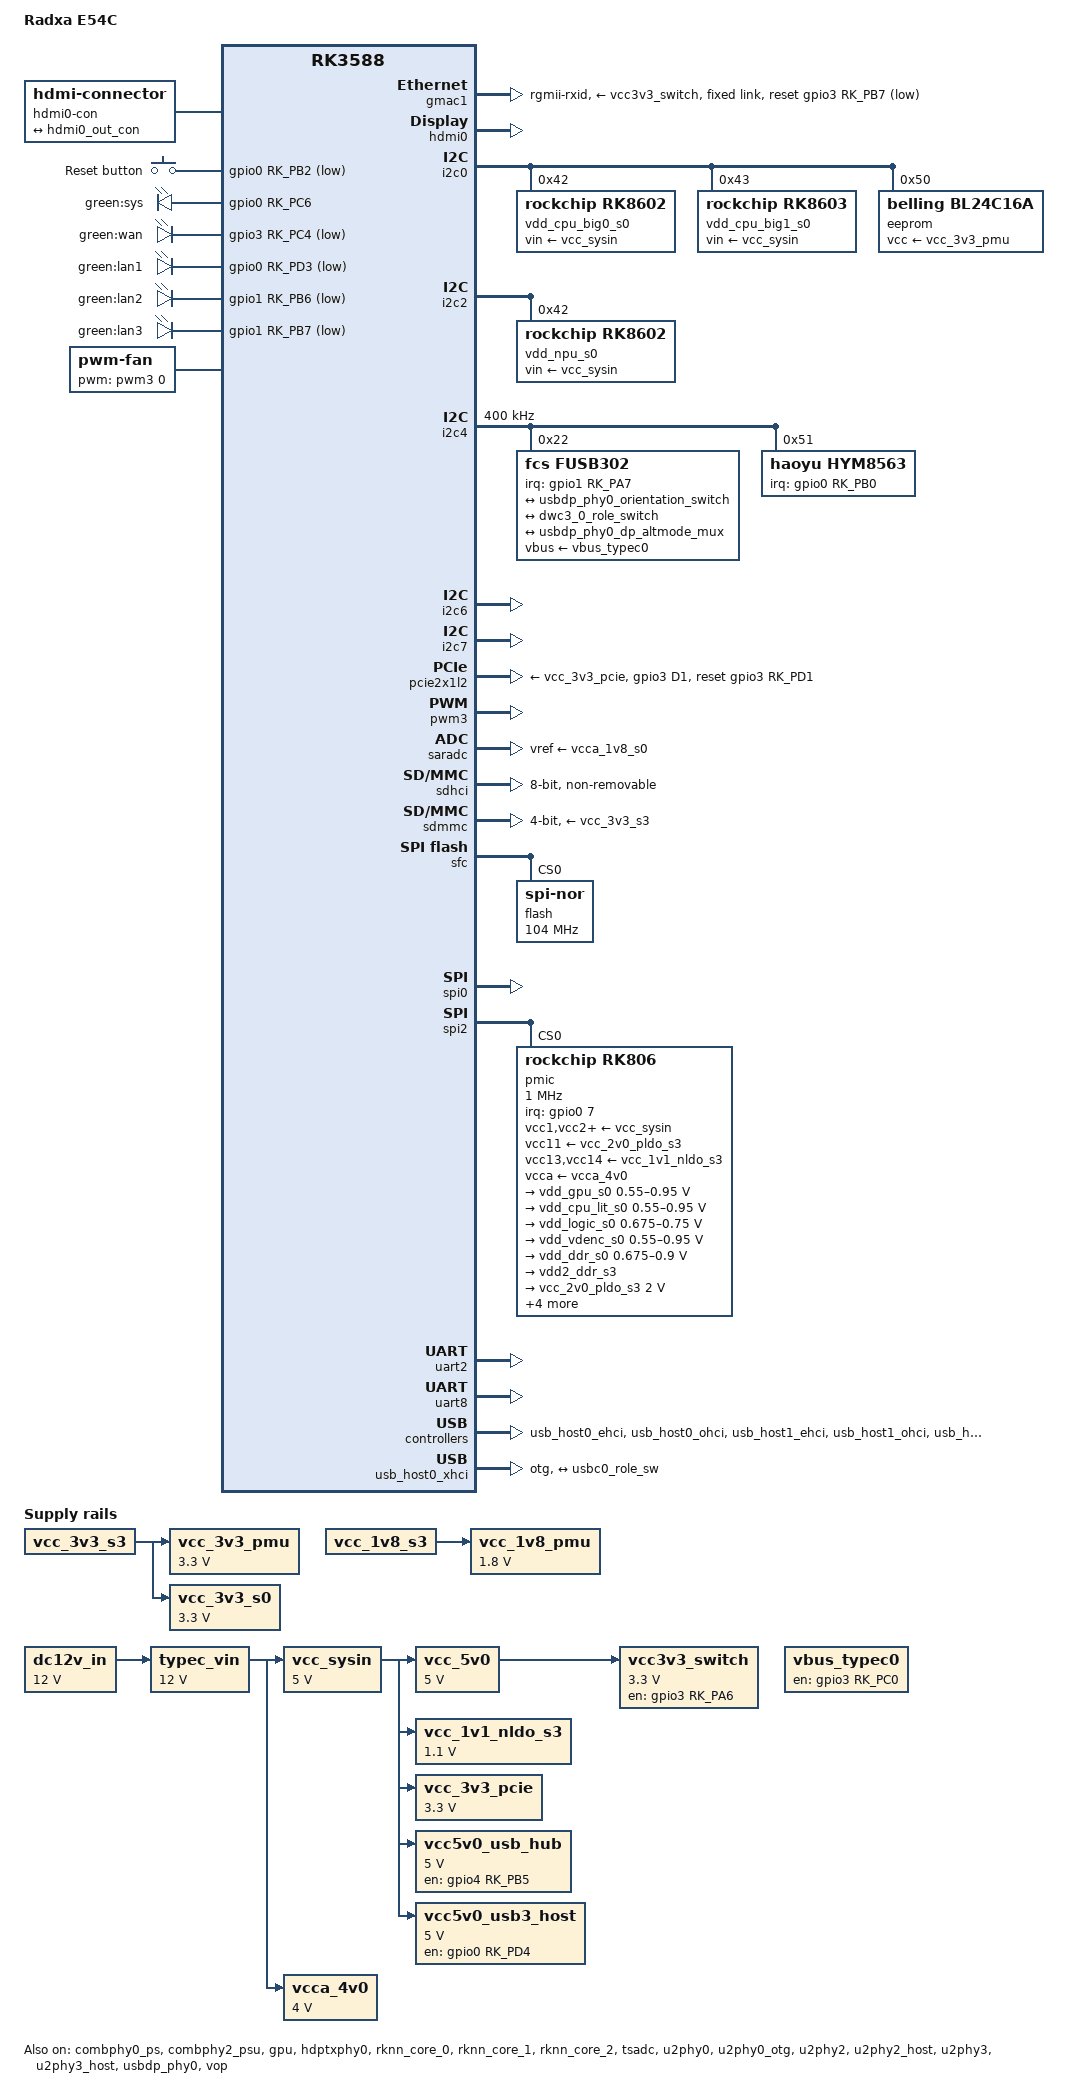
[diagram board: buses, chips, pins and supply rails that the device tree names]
// SPDX-License-Identifier: (GPL-2.0+ OR MIT)
/*
 * Copyright (c) 2024 Radxa Computer (Shenzhen) Co., Ltd.
 * Copyright (c) 2025 flippy (flippy@sina.com)
 */

/dts-v1/;

#include <dt-bindings/gpio/gpio.h>
#include <dt-bindings/input/input.h>
#include <dt-bindings/leds/common.h>
#include <dt-bindings/pinctrl/rockchip.h>
#include <dt-bindings/soc/rockchip,vop2.h>
#include <dt-bindings/usb/pd.h>
#include "rk3588s.dtsi"

/ {
	/* Ver 1.2 20250328 */
	model = "Radxa E54C";
	compatible = "radxa,e54c", "rockchip,rk3582", "rockchip,rk3588s", "rockchip,rk3588";

	aliases {
		mmc0 = &sdmmc;
		mmc1 = &sdhci;
	};

	chosen {
		stdout-path = "serial2:1500000n8";
	};

	hdmi0-con {
		compatible = "hdmi-connector";
		type = "a";

		port {
			hdmi0_con_in: endpoint {
				remote-endpoint = <&hdmi0_out_con>;
			};
		};
	};

	gpio-keys {
		compatible = "gpio-keys";
		pinctrl-names = "default";
		pinctrl-0 = <&user_key>;
		autorepeat;

		user-key {
			label = "Reset button";
			linux,code = <KEY_RESTART>;
			gpios = <&gpio0 RK_PB2 GPIO_ACTIVE_LOW>;
			debounce-interval = <60>;
		};
	};

	gpio-leds {
		compatible = "gpio-leds";

		sys_led:  sys-led {
			gpios = <&gpio0 RK_PC6 GPIO_ACTIVE_HIGH>;
			label = "green:sys";
			linux,default-trigger = "heartbeat";
		};

		wan_led: wan-led {
			gpios = <&gpio3 RK_PC4 GPIO_ACTIVE_LOW>;
			label = "green:wan";
			linux,default-trigger = "netdev";
		};

		lan1_led: lan1-led {
			gpios = <&gpio0 RK_PD3 GPIO_ACTIVE_LOW>;
			label = "green:lan1";
			linux,default-trigger = "netdev";
		};

		lan2_led: lan2-led {
			gpios = <&gpio1 RK_PB6 GPIO_ACTIVE_LOW>;
			label = "green:lan2";
			linux,default-trigger = "netdev";
		};

		lan3_led: lan3-led {
			gpios = <&gpio1 RK_PB7 GPIO_ACTIVE_LOW>;
			label = "green:lan3";
			linux,default-trigger = "netdev";
		};
	};

	/* The main power */
	dc12v_in: regulator-dc12v-in {
		compatible = "regulator-fixed";
		regulator-name = "dc12v-in";
		regulator-always-on;
		regulator-boot-on;
		regulator-min-microvolt = <12000000>;
		regulator-max-microvolt = <12000000>;
	};

	/* The alternative power
	 * output mode: FPF2595UCX advanced load−management switch, Max 28v 3.9A, vcc_sysin -> vbus_typec0 5v
	 *   enabled by GPIO3_C0
	 * input mode: FUSB302B Programmable USB Type‐C Controller, vbus_typec0 -> vcc_sysin, 5v - 20v
	 */
	vbus_typec0: regulator-vbus-typec0 {
		compatible = "regulator-fixed";
		enable-active-high;
		gpio = <&gpio3 RK_PC0 GPIO_ACTIVE_HIGH>;
		pinctrl-names = "default";
		pinctrl-0 = <&vbus_typec0_en>;
		regulator-name = "vbus-typec0";
	};

	/*
	 * Supply by dc12v_in through a diode (SS54),
	 * or by vbus_typec0 through a power electronics switch (WS4684C)
	 * if dc12v_in and vbus_typec0 are powered at the same time, select dc12v_in
	 */
	typec_vin: regulator-typec-vin {
		compatible = "regulator-fixed";
		regulator-name = "typec-in";
		regulator-always-on;
		regulator-boot-on;
		regulator-min-microvolt = <12000000>;
		regulator-max-microvolt = <12000000>;
		vin-supply = <&dc12v_in>;
	};

	/*
	 * DC-DC:   MP8759 Max 26V 8A
	 * input:   typec_vin
	 * output1: vcc_sysin: direct
	 * output2: vcc5v0_dip: through a 4A fuse, is used for DIP_14PIN-2_54MM output
	 */
	 vcc_sysin: vcc5v0_dip: regulator-vcc5v0-sysin {
		compatible = "regulator-fixed";
		regulator-name = "vcc5v0_sysin";
		regulator-min-microvolt = <5000000>;
		regulator-max-microvolt = <5000000>;
		regulator-always-on;
		regulator-boot-on;
		vin-supply = <&typec_vin>;
	};

	/*
	 * LDO: SGM2200-ADJ Max 26.4v input, 1.5v - 5v 50ma output
	 * Used for RK806-1 VCCA supply and hym8563 supply
	 */
	vcca_4v0: regulator-vcca-4v0 {
		compatible = "regulator-fixed";
		regulator-name = "vcca_4v0";
		regulator-min-microvolt = <4000000>;
		regulator-max-microvolt = <4000000>;
		regulator-boot-on;
		regulator-always-on;
		vin-supply = <&typec_vin>;
	};

	/*
	 * PMOS switch: AO3401, Max 4A output
	 * input:  vcc_sysin
	 * output: vcc_5v0
	 * enabled by vcc_3v3_s3
	 */
	vcc_5v0: regulator-vcc-5v0 {
		compatible = "regulator-fixed";
		regulator-name = "vcc_5v0";
		regulator-min-microvolt = <5000000>;
		regulator-max-microvolt = <5000000>;
		regulator-boot-on;
		regulator-always-on;
		vin-supply = <&vcc_sysin>;
	};

	/*
	 * DC-DC: ETA3409/SY8089AAC, Max 2A output
	 * input: vcc_sysin
	 * output: vcc_1v1_nldo_s3
	 * enabled by pmic RK806-1 ext_en pin
	 */
	vcc_1v1_nldo_s3: regulator-vcc-1v1-nldo-s3 {
		compatible = "regulator-fixed";
		regulator-name = "vcc_1v1_nldo_s3";
		regulator-always-on;
		regulator-boot-on;
		regulator-min-microvolt = <1100000>;
		regulator-max-microvolt = <1100000>;
		vin-supply = <&vcc_sysin>;
	};

	/*
	 * DC-DC: SY8089AAC, max 2A output
	 * input: vcc_sysin
	 * output: vcc_3v3_pcie
	 * enabled by vcc_2v0_pldo_s3
	 */
	vcc_3v3_pcie: regulator-vcc-pcie {
		compatible = "regulator-fixed";
		regulator-name = "vcc_3v3_pcie";
		regulator-always-on;
		regulator-boot-on;
		regulator-min-microvolt = <3300000>;
		regulator-max-microvolt = <3300000>;
		vin-supply = <&vcc_sysin>;
	};

	/*
	 * Through a 0 ohm resistor
	 * input: vcc_3v3_s3
	 * output: vcc_3v3_pmu
	 */
	vcc_3v3_pmu: regulator-vcc-3v3-pmu {
		compatible = "regulator-fixed";
		regulator-name = "vcc_3v3_pmu";
		regulator-always-on;
		regulator-boot-on;
		regulator-min-microvolt = <3300000>;
		regulator-max-microvolt = <3300000>;
		vin-supply = <&vcc_3v3_s3>;
	};

	/*
	 * Power switch: SGM2576, max 2.5A output
	 * input: vcc_3v3_s3
	 * output: vcc_3v3_s0
	 * enabled by vcc_1v8_s0
	 */
	vcc_3v3_s0: regulator-vcc-3v3-s0 {
		compatible = "regulator-fixed";
		regulator-name = "vcc_3v3_s0";
		regulator-always-on;
		regulator-boot-on;
		regulator-min-microvolt = <3300000>;
		regulator-max-microvolt = <3300000>;
		vin-supply = <&vcc_3v3_s3>;
	};

	/*
	 * Through a 0 ohm resistor
	 * input: vcc_1v8_s3
	 * output: vcc_1v8_pmu
	 */
	vcc_1v8_pmu: regulator-vcc-1v8-pmu {
		compatible = "regulator-fixed";
		regulator-name = "vcc_1v8_pmu";
		regulator-always-on;
		regulator-boot-on;
		regulator-min-microvolt = <1800000>;
		regulator-max-microvolt = <1800000>;
		vin-supply = <&vcc_1v8_s3>;
	};

	/*
	 * Power switch: SY6280AAC, max 2A output
	 * input: vcc_sysin
	 * output to two usb2.0 type A port
	 * enabled by GPIO4_B5
	 */
	vcc5v0_usb_hub: regulator-vcc5v0-usb-hub {
		compatible = "regulator-fixed";
		regulator-name = "vcc5v0_usb_hub";
		regulator-min-microvolt = <5000000>;
		regulator-max-microvolt = <5000000>;
		enable-active-high;
		gpio = <&gpio4 RK_PB5 GPIO_ACTIVE_HIGH>;
		pinctrl-names = "default";
		pinctrl-0 = <&vcc5v0_usb_hub_en>;
		vin-supply = <&vcc_sysin>;
	};

	/*
	 * Power switch: SY6280AAC, max 2A output
	 * input: vcc_sysin
	 * output to USB3 type A port
	 * enabled by GPIO0_D4
	 */
	vcc5v0_usb3_host: regulator-vcc5v0-usb3-host {
		compatible = "regulator-fixed";
		regulator-name = "vcc5v0_usb3_host";
		regulator-min-microvolt = <5000000>;
		regulator-max-microvolt = <5000000>;
		enable-active-high;
		gpio = <&gpio0 RK_PD4 GPIO_ACTIVE_HIGH>;
		pinctrl-names = "default";
		pinctrl-0 = <&vcc5v0_usb3_host_en>;
		vin-supply = <&vcc_sysin>;
	};

	/*
	 * DC-DC: SY8088AAC(3v3) + SY8088AAC(1v1), max 1A
	 * input: vcc_5v0
	 * output: 3v3 to RTL8367RB AVDDH, 1v1 to RTL8367RB AVDDL
	 * enabled by GPIO3_A6
	 */
	vcc3v3_switch: regulator-vcc3v3-switch {
		compatible = "regulator-fixed";
		regulator-name = "vcc3v3_switch";
		regulator-min-microvolt = <3300000>;
		regulator-max-microvolt = <3300000>;
		enable-active-high;
		gpio = <&gpio3 RK_PA6 GPIO_ACTIVE_HIGH>;
		pinctrl-names = "default";
		pinctrl-0 = <&rtl8367rb_power_en>;
		vin-supply = <&vcc_5v0>;
	};

	fan: pwm-fan {
		compatible = "pwm-fan";
		#cooling-cells = <2>;
		cooling-levels = <0 64 128 192 255>;
		pwms = <&pwm3 0 10000 0>;
	};

	/* RTL8367RB-VB (num:6367 ver:0020) */
	switch0: switch0 {
		compatible = "realtek,rtl8367b";
		realtek,extif = <6 1 0 1 1 1 1 1 1 2>;
		mii-bus = <&mdio1>;
		phy-id = <29>;
	};
};

/* pcie2x1l2 phy */
&combphy0_ps {
	status = "okay";
};

/* usb_host2_xhci: usb@fcd00000 phy */
&combphy2_psu {
	status = "okay";
};

/*
 * In the Rockchip RK3582 SoC, some CPU cores end up disabled
 * and unused because they're marked in the efuses as defective.
 * The disabling in the DT is performed by the boot loader.
 */
&cpu_b0 {
	cpu-supply = <&vdd_cpu_big0_s0>;
};

&cpu_b1 {
	cpu-supply = <&vdd_cpu_big0_s0>;
};

&cpu_b2 {
	cpu-supply = <&vdd_cpu_big1_s0>;
};

&cpu_b3 {
	cpu-supply = <&vdd_cpu_big1_s0>;
};

&cpu_l0 {
	cpu-supply = <&vdd_cpu_lit_s0>;
};

&cpu_l1 {
	cpu-supply = <&vdd_cpu_lit_s0>;
};

&cpu_l2 {
	cpu-supply = <&vdd_cpu_lit_s0>;
};

&cpu_l3 {
	cpu-supply = <&vdd_cpu_lit_s0>;
};

/*
 * The stmmac driver used by rk3588 has a bug in VLAN.
 * Instead of hacking it, use the legacy switch driver
 * first. Obviously this is not a DSA driver bug.
 */
&gmac1 {
	status = "okay";
	label = "eth0";
	phy-mode = "rgmii-rxid";
	phy-supply = <&vcc3v3_switch>;
	clock_in_out = "output";

	pinctrl-names = "default";
	pinctrl-0 = <&gmac1_miim
		     &gmac1_tx_bus2
		     &gmac1_rx_bus2
		     &gmac1_rgmii_clk
		     &gmac1_rgmii_bus>;

	snps,reset-active-low;
	snps,reset-delays-us = <0 10000 10000>;
	snps,reset-gpio = <&gpio3 RK_PB7 GPIO_ACTIVE_LOW>;

	tx_delay = <0x3f>;
	rx_delay = <0x10>;

	fixed-link {
		speed = <1000>;
		full-duplex;
		pause;
	};
};

&gpu {
	mali-supply = <&vdd_gpu_s0>;
	status = "okay";
};

&hdmi0 {
	pinctrl-names = "default";
	pinctrl-0 = <&hdmim0_tx0_cec
		     &hdmim1_tx0_hpd
		     &hdmim0_tx0_scl
		     &hdmim0_tx0_sda>;
	status = "okay";
};

&hdmi0_in {
	hdmi0_in_vp0: endpoint {
		remote-endpoint = <&vp0_out_hdmi0>;
	};
};

&hdmi0_out {
	hdmi0_out_con: endpoint {
		remote-endpoint = <&hdmi0_con_in>;
	};
};

&hdptxphy0 {
	status = "okay";
};

&i2c0 {
	pinctrl-names = "default";
	pinctrl-0 = <&i2c0m2_xfer>;
	status = "okay";

	vdd_cpu_big0_s0: regulator@42 {
		compatible = "rockchip,rk8602";
		reg = <0x42>;
		fcs,suspend-voltage-selector = <1>;
		regulator-name = "vdd_cpu_big0_s0";
		regulator-always-on;
		regulator-boot-on;
		regulator-min-microvolt = <550000>;
		regulator-max-microvolt = <1050000>;
		regulator-ramp-delay = <2300>;
		vin-supply = <&vcc_sysin>;

		regulator-state-mem {
			regulator-off-in-suspend;
		};
	};

	vdd_cpu_big1_s0: regulator@43 {
		compatible = "rockchip,rk8603", "rockchip,rk8602";
		reg = <0x43>;
		fcs,suspend-voltage-selector = <1>;
		regulator-name = "vdd_cpu_big1_s0";
		regulator-always-on;
		regulator-boot-on;
		regulator-min-microvolt = <550000>;
		regulator-max-microvolt = <1050000>;
		regulator-ramp-delay = <2300>;
		vin-supply = <&vcc_sysin>;

		regulator-state-mem {
			regulator-off-in-suspend;
		};
	};

	eeprom@50 {
		compatible = "belling,bl24c16a", "atmel,24c16";
		reg = <0x50>;
		pagesize = <16>;
		vcc-supply = <&vcc_3v3_pmu>;
	};
};

&i2c2 {
	status = "okay";

	vdd_npu_s0: vdd_npu_mem_s0: regulator@42 {
		compatible = "rockchip,rk8602";
		reg = <0x42>;
		fcs,suspend-voltage-selector = <1>;
		regulator-name = "vdd_npu_s0";
		regulator-always-on;
		regulator-boot-on;
		regulator-min-microvolt = <550000>;
		regulator-max-microvolt = <950000>;
		regulator-ramp-delay = <2300>;
		vin-supply = <&vcc_sysin>;

		regulator-state-mem {
			regulator-off-in-suspend;
		};
	};
};

&i2c4 {
	clock-frequency = <400000>;
	pinctrl-names = "default";
	pinctrl-0 = <&i2c4m2_xfer>;
	status = "okay";

	fusb302: usb-typec@22 {
		status = "okay";
		compatible = "fcs,fusb302";
		reg = <0x22>;
		interrupt-parent = <&gpio1>;
		interrupts = <RK_PA7 IRQ_TYPE_EDGE_FALLING>;
		pinctrl-names = "default";
		pinctrl-0 = <&fusb302_int_l>;
		vbus-supply = <&vbus_typec0>;

		typec0_connect: connector {
			compatible = "usb-c-connector";
			label = "USB-C";
			power-role = "dual";
			try-power-role = "sink";
			source-pdos = <PDO_FIXED(5000, 3000, PDO_FIXED_USB_COMM)>;
			sink-pdos = <PDO_FIXED(5000, 5000, PDO_FIXED_USB_COMM)
				     PDO_VAR(5000, 20000, 5000)
				     PDO_PPS_APDO(5000, 20000, 5000)>;
			op-sink-microwatt = <100000000>;

			ports {
				#address-cells = <1>;
				#size-cells = <0>;

				port@0 {
					reg = <0>;

					usbc0_orien_sw: endpoint {
						remote-endpoint = <&usbdp_phy0_orientation_switch>;
					};
				};

				port@1 {
					reg = <1>;

					usbc0_role_sw: endpoint {
						remote-endpoint = <&dwc3_0_role_switch>;
					};
				};

				port@2 {
					reg = <2>;

					dp_altmode_mux: endpoint {
						remote-endpoint = <&usbdp_phy0_dp_altmode_mux>;
					};
				};
			};
		};
	};

	hym8563: rtc@51 {
		compatible = "haoyu,hym8563";
		reg = <0x51>;
		#clock-cells = <0>;
		clock-output-names = "rtcic_32kout";
		interrupt-parent = <&gpio0>;
		interrupts = <RK_PB0 IRQ_TYPE_LEVEL_LOW>;
		pinctrl-names = "default";
		pinctrl-0 = <&hym8563_int_l>;
	};
};

/*
 * To LCD TFT
 */
&i2c5 {
	pinctrl-names = "default";
	pinctrl-0 = <&i2c5m2_xfer>;
	status = "disabled";
};

/*
 * DIP14 output
 * pin11: I2C6_SCL_M0
 * pin13: I2C6_SDA_M0
 */
&i2c6 {
	pinctrl-names = "default";
	pinctrl-0 = <&i2c6m0_xfer>;
	status = "okay";
};

/*
 * DIP14 output
 * pin3: I2C7_SDA_M3
 * pin5: I2C7_SCL_M3
 */
&i2c7 {
	pinctrl-names = "default";
	pinctrl-0 = <&i2c7m3_xfer>;
	status = "okay";
};

&package_thermal {
	polling-delay = <1000>;

	trips {
		package_fan0: package-fan0 {
			hysteresis = <2000>;
			temperature = <50000>;
			type = "active";
		};

		package_fan1: package-fan1 {
			hysteresis = <2000>;
			temperature = <65000>;
			type = "active";
		};
	};

	cooling-maps {
		map0 {
			cooling-device = <&fan THERMAL_NO_LIMIT 1>;
			trip = <&package_fan0>;
		};
		map1 {
			cooling-device = <&fan 2 THERMAL_NO_LIMIT>;
			trip = <&package_fan1>;
		};
	};
};

/* M.2 M-KEY PCIe */
&pcie2x1l2 {
	pinctrl-names = "default";
	pinctrl-0 = <&pcie20x1_2_perstn_m0>;
	reset-gpios = <&gpio3 RK_PD1 GPIO_ACTIVE_HIGH>;
	vpcie3v3-supply = <&vcc_3v3_pcie>;
	status = "okay";
};

&package_thermal {
	polling-delay = <1000>;

	trips {
		package_fan0: package-fan0 {
			temperature = <55000>;
			hysteresis = <2000>;
			type = "active";
		};

		package_fan1: package-fan1 {
			temperature = <65000>;
			hysteresis = <2000>;
			type = "active";
		};
	};

	cooling-maps {
		map0 {
			trip = <&package_fan0>;
			cooling-device = <&fan THERMAL_NO_LIMIT 1>;
		};

		map1 {
			trip = <&package_fan1>;
			cooling-device = <&fan 2 THERMAL_NO_LIMIT>;
		};
	};
};

&pd_gpu {
	domain-supply = <&vdd_gpu_s0>;
};

&pd_npu {
	domain-supply = <&vdd_npu_s0>;
};

&pinctrl {
	keys {
		user_key: user-key {
			rockchip,pins = <0 RK_PB2 RK_FUNC_GPIO &pcfg_pull_up>;
		};
	};

	pcie {
		pcie20x1_2_perstn_m0: pcie20x1-2-perstn-m0 {
			rockchip,pins = <3 RK_PD1 RK_FUNC_GPIO &pcfg_pull_none>;
		};

		pow_en: pow-en {
			rockchip,pins = <0 RK_PC5 RK_FUNC_GPIO &pcfg_pull_none>;
		};
	};

	rtc {
		hym8563_int_l: hym8563-int-l {
			rockchip,pins = <0 RK_PB0 RK_FUNC_GPIO &pcfg_pull_none>;
		};
	};

	rtl8367rb {
		rtl8367rb_power_en: rtl8367rb-power-en {
			rockchip,pins = <3 RK_PA6 RK_FUNC_GPIO &pcfg_pull_none>;
		};
	};

	usb {
		fusb302_int_l: fusb302-int-l {
			rockchip,pins = <1 RK_PA7 RK_FUNC_GPIO &pcfg_pull_none>;
		};

		vbus_typec0_en: vbus-typec0-en {
			rockchip,pins = <3 RK_PC0 RK_FUNC_GPIO &pcfg_pull_none>;
		};

		vcc5v0_usb_hub_en: vcc5v0-usb-hub-en {
			rockchip,pins = <4 RK_PB5 RK_FUNC_GPIO &pcfg_pull_none>;
		};

		vcc5v0_usb3_host_en: vcc5v0-usb3-host-en {
			rockchip,pins = <0 RK_PD4 RK_FUNC_GPIO &pcfg_pull_none>;
		};
	};
};

/* pwm fan */
&pwm3 {
	pinctrl-names = "default";
	pinctrl-0 = <&pwm3m1_pins>;
	status = "okay";
};

&rknn_core_0 {
	npu-supply = <&vdd_npu_s0>;
	sram-supply = <&vdd_npu_mem_s0>;
	status = "okay";
};

&rknn_core_1 {
	npu-supply = <&vdd_npu_s0>;
	sram-supply = <&vdd_npu_mem_s0>;
	status = "okay";
};

&rknn_core_2 {
	npu-supply = <&vdd_npu_s0>;
	sram-supply = <&vdd_npu_mem_s0>;
	status = "okay";
};

&rknn_mmu_0 {
	status = "okay";
};

&rknn_mmu_1 {
	status = "okay";
};

&rknn_mmu_2 {
	status = "okay";
};

&saradc {
	vref-supply = <&vcca_1v8_s0>;
	status = "okay";
};

&sdhci {
	bus-width = <8>;
	mmc-hs400-1_8v;
	mmc-hs400-enhanced-strobe;
	no-sdio;
	no-sd;
	non-removable;
	status = "okay";
};

&sdmmc {
	bus-width = <4>;
	cap-mmc-highspeed;
	cap-sd-highspeed;
	disable-wp;
	no-sdio;
	no-mmc;
	sd-uhs-sdr104;
	vmmc-supply = <&vcc_3v3_s3>;
	vqmmc-supply = <&vccio_sd_s0>;
	status = "okay";
};

&sfc {
	pinctrl-names = "default";
	pinctrl-0 = <&fspim0_pins>;

	flash@0 {
		compatible = "jedec,spi-nor";
		reg = <0>;
		spi-max-frequency = <104000000>;
		spi-rx-bus-width = <4>;
		spi-tx-bus-width = <1>;
	};
};

/*
 * DIP14 output
 * pin8:  SPI0_MOSI_M2
 * pin10: SPI0_MISO_M2
 * pin12: SPI0_CLK_M2
 * pin14: SPI0_CS0_M2
 */
&spi0 {
	pinctrl-0 = <&spi0m2_cs0 &spi0m2_pins>;
	status = "okay";
};

&spi2 {
	status = "okay";
	assigned-clocks = <&cru CLK_SPI2>;
	assigned-clock-rates = <200000000>;
	num-cs = <1>;
	pinctrl-names = "default";
	pinctrl-0 = <&spi2m2_cs0 &spi2m2_pins>;

	pmic@0 {
		compatible = "rockchip,rk806";
		reg = <0>;
		gpio-controller;
		#gpio-cells = <2>;
		interrupt-parent = <&gpio0>;
		interrupts = <7 IRQ_TYPE_LEVEL_LOW>;
		pinctrl-names = "default";
		pinctrl-0 = <&pmic_pins>, <&rk806_dvs1_null>,
			    <&rk806_dvs2_null>, <&rk806_dvs3_null>;
		spi-max-frequency = <1000000>;
		system-power-controller;

		vcc1-supply = <&vcc_sysin>;
		vcc2-supply = <&vcc_sysin>;
		vcc3-supply = <&vcc_sysin>;
		vcc4-supply = <&vcc_sysin>;
		vcc5-supply = <&vcc_sysin>;
		vcc6-supply = <&vcc_sysin>;
		vcc7-supply = <&vcc_sysin>;
		vcc8-supply = <&vcc_sysin>;
		vcc9-supply = <&vcc_sysin>;
		vcc10-supply = <&vcc_sysin>;
		vcc11-supply = <&vcc_2v0_pldo_s3>;
		vcc12-supply = <&vcc_sysin>;
		vcc13-supply = <&vcc_1v1_nldo_s3>;
		vcc14-supply = <&vcc_1v1_nldo_s3>;
		vcca-supply = <&vcca_4v0>;

		rk806_dvs1_null: dvs1-null-pins {
			pins = "gpio_pwrctrl1";
			function = "pin_fun0";
		};

		rk806_dvs2_null: dvs2-null-pins {
			pins = "gpio_pwrctrl2";
			function = "pin_fun0";
		};

		rk806_dvs3_null: dvs3-null-pins {
			pins = "gpio_pwrctrl3";
			function = "pin_fun0";
		};

		regulators {
			vdd_gpu_s0: dcdc-reg1 {
				regulator-name = "vdd_gpu_s0";
				regulator-boot-on;
				regulator-min-microvolt = <550000>;
				regulator-max-microvolt = <950000>;
				regulator-ramp-delay = <12500>;
				regulator-enable-ramp-delay = <400>;

				regulator-state-mem {
					regulator-off-in-suspend;
				};
			};

			vdd_cpu_lit_s0: dcdc-reg2 {
				regulator-name = "vdd_cpu_lit_s0";
				regulator-always-on;
				regulator-boot-on;
				regulator-min-microvolt = <550000>;
				regulator-max-microvolt = <950000>;
				regulator-ramp-delay = <12500>;

				regulator-state-mem {
					regulator-off-in-suspend;
				};
			};

			vdd_logic_s0: dcdc-reg3 {
				regulator-name = "vdd_logic_s0";
				regulator-always-on;
				regulator-boot-on;
				regulator-min-microvolt = <675000>;
				regulator-max-microvolt = <750000>;
				regulator-ramp-delay = <12500>;

				regulator-state-mem {
					regulator-on-in-suspend;
					regulator-suspend-microvolt = <750000>;
				};
			};

			vdd_vdenc_s0: dcdc-reg4 {
				regulator-name = "vdd_vdenc_s0";
				regulator-always-on;
				regulator-boot-on;
				regulator-min-microvolt = <550000>;
				regulator-max-microvolt = <950000>;
				regulator-ramp-delay = <12500>;

				regulator-state-mem {
					regulator-off-in-suspend;
				};
			};

			vdd_ddr_s0: dcdc-reg5 {
				regulator-name = "vdd_ddr_s0";
				regulator-always-on;
				regulator-boot-on;
				regulator-min-microvolt = <675000>;
				regulator-max-microvolt = <900000>;
				regulator-ramp-delay = <12500>;

				regulator-state-mem {
					regulator-off-in-suspend;
					regulator-suspend-microvolt = <850000>;
				};
			};

			vdd2_ddr_s3: dcdc-reg6 {
				regulator-name = "vdd2_ddr_s3";
				regulator-always-on;
				regulator-boot-on;

				regulator-state-mem {
					regulator-on-in-suspend;
				};
			};

			vcc_2v0_pldo_s3: dcdc-reg7 {
				regulator-name = "vcc_2v0_pldo_s3";
				regulator-always-on;
				regulator-boot-on;
				regulator-min-microvolt = <2000000>;
				regulator-max-microvolt = <2000000>;

				regulator-state-mem {
					regulator-on-in-suspend;
					regulator-suspend-microvolt = <2000000>;
				};
			};

			vcc_3v3_s3: dcdc-reg8 {
				regulator-name = "vcc_3v3_s3";
				regulator-always-on;
				regulator-boot-on;
				regulator-min-microvolt = <3300000>;
				regulator-max-microvolt = <3300000>;

				regulator-state-mem {
					regulator-on-in-suspend;
					regulator-suspend-microvolt = <3300000>;
				};
			};

			vddq_ddr_s0: dcdc-reg9 {
				regulator-name = "vddq_ddr_s0";
				regulator-always-on;
				regulator-boot-on;

				regulator-state-mem {
					regulator-off-in-suspend;
				};
			};

			vcc_1v8_s3: dcdc-reg10 {
				regulator-name = "vcc_1v8_s3";
				regulator-always-on;
				regulator-boot-on;
				regulator-min-microvolt = <1800000>;
				regulator-max-microvolt = <1800000>;

				regulator-state-mem {
					regulator-on-in-suspend;
					regulator-suspend-microvolt = <1800000>;
				};
			};

			vcc_1v8_s0: pldo-reg1 {
				regulator-name = "vcc_1v8_s0";
				regulator-always-on;
				regulator-boot-on;
				regulator-min-microvolt = <1800000>;
				regulator-max-microvolt = <1800000>;

				regulator-state-mem {
					regulator-on-in-suspend;
					regulator-suspend-microvolt = <1800000>;
				};
			};

			vcca_1v8_s0: pldo-reg2 {
				regulator-name = "vcca_1v8_s0";
				regulator-always-on;
				regulator-boot-on;
				regulator-min-microvolt = <1800000>;
				regulator-max-microvolt = <1800000>;

				regulator-state-mem {
					regulator-on-in-suspend;
					regulator-suspend-microvolt = <1800000>;
				};
			};

			vdda_1v2_s0: pldo-reg3 {
				regulator-name = "vdda_1v2_s0";
				regulator-always-on;
				regulator-boot-on;
				regulator-min-microvolt = <1200000>;
				regulator-max-microvolt = <1200000>;

				regulator-state-mem {
					regulator-off-in-suspend;
				};
			};

			vcca_3v3_s0: pldo-reg4 {
				regulator-name = "vcca_3v3_s0";
				regulator-always-on;
				regulator-boot-on;
				regulator-min-microvolt = <3300000>;
				regulator-max-microvolt = <3300000>;

				regulator-state-mem {
					regulator-on-in-suspend;
					regulator-suspend-microvolt = <3300000>;
				};
			};

			vccio_sd_s0: pldo-reg5 {
				regulator-name = "vccio_sd_s0";
				regulator-always-on;
				regulator-boot-on;
				regulator-min-microvolt = <1800000>;
				regulator-max-microvolt = <3300000>;

				regulator-state-mem {
					regulator-off-in-suspend;
				};
			};

			pldo6_s3: pldo-reg6 {
				regulator-name = "pldo6_s3";
				regulator-always-on;
				regulator-boot-on;
				regulator-min-microvolt = <1800000>;
				regulator-max-microvolt = <1800000>;

				regulator-state-mem {
					regulator-on-in-suspend;
					regulator-suspend-microvolt = <1800000>;
				};
			};

			vdd_0v75_s3: nldo-reg1 {
				regulator-name = "vdd_0v75_s3";
				regulator-always-on;
				regulator-boot-on;
				regulator-min-microvolt = <750000>;
				regulator-max-microvolt = <750000>;

				regulator-state-mem {
					regulator-on-in-suspend;
					regulator-suspend-microvolt = <750000>;
				};
			};

			vdda_ddr_pll_s0: nldo-reg2 {
				regulator-name = "vdda_ddr_pll_s0";
				regulator-always-on;
				regulator-boot-on;
				regulator-min-microvolt = <850000>;
				regulator-max-microvolt = <850000>;

				regulator-state-mem {
					regulator-on-in-suspend;
					regulator-suspend-microvolt = <850000>;
				};
			};

			vdda_0v75_s0: nldo-reg3 {
				regulator-name = "vdda_0v75_s0";
				regulator-always-on;
				regulator-boot-on;
				regulator-min-microvolt = <750000>;
				regulator-max-microvolt = <750000>;

				regulator-state-mem {
					regulator-on-in-suspend;
					regulator-suspend-microvolt = <750000>;
				};
			};

			vdda_0v85_s0: nldo-reg4 {
				regulator-name = "vdda_0v85_s0";
				regulator-always-on;
				regulator-boot-on;
				regulator-min-microvolt = <850000>;
				regulator-max-microvolt = <850000>;

				regulator-state-mem {
					regulator-off-in-suspend;
				};
			};

			vdd_0v75_s0: nldo-reg5 {
				regulator-name = "vdd_0v75_s0";
				regulator-always-on;
				regulator-boot-on;
				regulator-min-microvolt = <750000>;
				regulator-max-microvolt = <750000>;

				regulator-state-mem {
					regulator-off-in-suspend;
				};
			};
		};
	};
};

&tsadc {
	status = "okay";
};

&u2phy0 {
	status = "okay";
};

/* TYPE-C otg phy */
&u2phy0_otg {
	status = "okay";
};

&u2phy2 {
	status = "okay";
};

/* To USB2.0 HUB */
&u2phy2_host {
	phy-supply = <&vcc5v0_usb_hub>;
	status = "okay";
};

&u2phy3 {
	status = "okay";
};

/* To USB3.0 Type-A receptacle */
&u2phy3_host {
	phy-supply = <&vcc5v0_usb3_host>;
	status = "okay";
};

&uart2 {
	pinctrl-0 = <&uart2m0_xfer>;
	status = "okay";
};

/*
 * DIP14 output
 * pin7: UART8_TX_M0
 * pin9: UART8_RX_M0
 */
&uart8 {
	pinctrl-0 = <&uart8m0_xfer>;
	status = "okay";
};

/* typec0 usb/dp altmode mux phy */
&usbdp_phy0 {
	mode-switch;
	orientation-switch;
	sbu1-dc-gpios = <&gpio1 RK_PA6 GPIO_ACTIVE_HIGH>;
	sbu2-dc-gpios = <&gpio3 RK_PD5 GPIO_ACTIVE_HIGH>;
	status = "okay";

	port {
		#address-cells = <1>;
		#size-cells = <0>;
		usbdp_phy0_orientation_switch: endpoint@0 {
			reg = <0>;
			remote-endpoint = <&usbc0_orien_sw>;
		};

		usbdp_phy0_dp_altmode_mux: endpoint@1 {
			reg = <1>;
			remote-endpoint = <&dp_altmode_mux>;
		};
	};
};

&usb_host0_ehci {
	status = "okay";
};

&usb_host0_ohci {
	status = "okay";
};

/* typec0 */
&usb_host0_xhci {
	dr_mode = "otg";
	usb-role-switch;
	status = "okay";

	port {
		#address-cells = <1>;
		#size-cells = <0>;

		dwc3_0_role_switch: endpoint@0 {
			reg = <0>;
			remote-endpoint = <&usbc0_role_sw>;
		};
	};
};

&usb_host1_ehci {
	status = "okay";
};

&usb_host1_ohci {
	status = "okay";
};

/* To USB3.0 Type-A receptacle */
&usb_host2_xhci {
	status = "okay";
};

&vop_mmu {
	status = "okay";
};

&vop {
	status = "okay";
};

&vp0 {
	vp0_out_hdmi0: endpoint@ROCKCHIP_VOP2_EP_HDMI0 {
		reg = <ROCKCHIP_VOP2_EP_HDMI0>;
		remote-endpoint = <&hdmi0_in_vp0>;
	};
};
